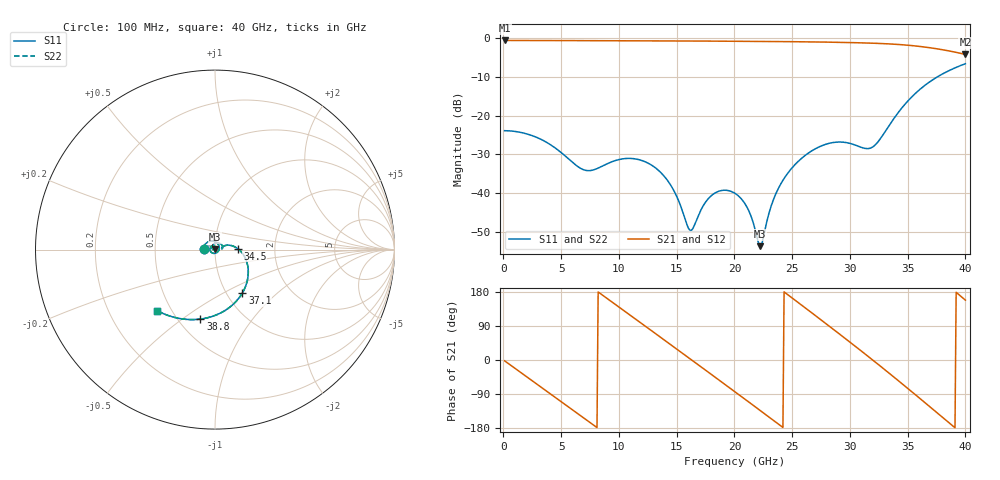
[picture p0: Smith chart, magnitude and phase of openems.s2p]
! A_s4_d300_ap1000: L1→L4 through L2/L3, drill Ø0.3, antipad Ø1, 4 GND vias at 1 mm
! stackup: 4-layer 1.6 mm FR-4
! ports: 1, 2
! openEMS 0.37.0, staircase, fine mesh (dfine 0.0175 mm), 1082519 cells
# Hz S RI R 50
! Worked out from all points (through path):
!   400 points, 100 MHz to 40 GHz, reference 50 ohm
!   highest |S21| = -0.58 dB at 100 MHz (marker M1); lowest = -4.2 dB at 40 GHz (marker M2)
!   group delay of S21, straight-line fit = 63.4 ps
!   lowest |S11| = -53.7 dB at 22.2 GHz (marker M3), VSWR 1.00, Z = 49.8 + j0.138 ohm
!   |S11| at or under -10 dB: start of sweep to 37.56 GHz
!   |S22| runs from -53.7 to -6.6 dB; largest |S21 - S12| = 8.9e-07
!   S11 on the Smith chart (normalised r, x): 100 MHz: 0.88, +0.00; 34.5 GHz: 1.29, +0.02; 37.1 GHz: 1.18, -0.62; 38.8 GHz: 0.64, -0.59; 40 GHz: 0.42, -0.36
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1e8  -0.064 0.00248  0.9349 -0.036  0.9349 -0.036  -0.064 0.00248
1.7e9  -0.047 0.0372  0.7425 -0.5683  0.7425 -0.5683  -0.047 0.0372
3.6e9  -0.00433 0.0463  0.1743 -0.9174  0.1743 -0.9174  -0.00434 0.0463
5.1e9  0.0204 0.0252  -0.353 -0.8631  -0.353 -0.8631  0.0204 0.0252
6.8e9  0.0189 -0.00772  -0.8035 -0.4703  -0.8035 -0.4703  0.0189 -0.00772
9.6e9  -0.0222 -0.0137  -0.793 0.4834  -0.793 0.4834  -0.0222 -0.0137
1.16e10  -0.0241 0.0129  -0.2309 0.898  -0.2309 0.898  -0.0241 0.0129
1.34e10  -0.00393 0.0194  0.3982 0.835  0.3982 0.835  -0.00393 0.0194
1.61e10  0.00271 -0.00201  0.9182 0.0713  0.9182 0.0713  0.00271 -0.00201
1.66e10  -0.000586 -0.00402  0.9138 -0.1075  0.9138 -0.1075  -0.000586 -0.00402
1.81e10  -0.00947 -0.00122  0.7004 -0.5925  0.7004 -0.5925  -0.00947 -0.00122
2.01e10  -0.0062 0.00763  0.0778 -0.9103  0.0778 -0.9103  -0.0062 0.00764
2.22e10  -0.00153 0.00139  -0.6146 -0.67  -0.6146 -0.67  -0.00153 0.00139
2.44e10  -0.0153 0.00555  -0.9029 0.0411  -0.9029 0.0411  -0.0153 0.00555
2.67e10  -0.00275 0.0351  -0.5071 0.739  -0.5071 0.739  -0.00274 0.0351
2.86e10  0.0325 0.0313  0.1511 0.8743  0.1511 0.8743  0.0325 0.0313
3.07e10  0.0401 0.00521  0.7522 0.4444  0.7522 0.4444  0.0401 0.00521
3.34e10  0.0706 0.0247  0.6928 -0.4829  0.6928 -0.4829  0.0706 0.0247
3.45e10  0.1258 0.00597  0.3845 -0.729  0.3845 -0.729  0.1258 0.00597
3.71e10  0.1523 -0.242  -0.4576 -0.5903  -0.4576 -0.5903  0.1523 -0.242
3.88e10  -0.0809 -0.387  -0.6677 -0.1045  -0.6677 -0.1045  -0.0809 -0.387
4e10  -0.3233 -0.3398  -0.5721 0.2314  -0.5721 0.2314  -0.3233 -0.3398
